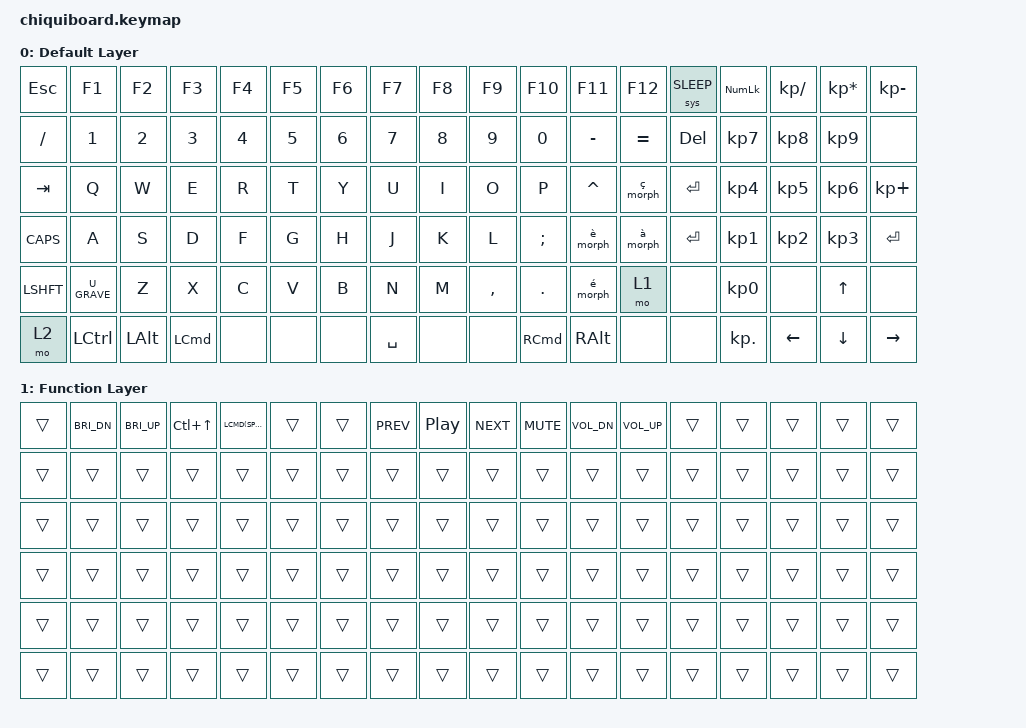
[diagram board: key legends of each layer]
/*
 * Copyright (c) 2020 The ZMK Contributors
 *
 * SPDX-License-Identifier: MIT
 */

#include <behaviors.dtsi>
#include <dt-bindings/zmk/keys.h>
#include <dt-bindings/zmk/bt.h>

/ {
        unicode_map {
                compatible = "zmk,unicode-map";
                C_CEDILLE: c_cedille { unicode = <0x00E7>; };
                C_CEDILLE_CAPS: c_cedille_caps { unicode = <0x00C7>; };
                E_AIGU: e_aigu { unicode = <0x00E9>; };
                E_AIGU_CAPS: e_aigu_caps { unicode = <0x00C9>; };
                E_GRAVE: e_grave { unicode = <0x00E8>; };
                E_GRAVE_CAPS: e_grave_caps { unicode = <0x00C8>; };
                A_GRAVE: a_grave { unicode = <0x00E90>; };
                A_GRAVE_CAPS: a_grave_caps { unicode = <0x00C0>; };
                U_GRAVE: u_grave { unicode = <0x00F9>; };
                U_GRAVE_CAPS: u_grave_caps { unicode = <0x00D9>; };
                TREMA: trema { unicode = <0x00A8>; };
        };

        behaviors {
                ç_morph_a: ç_morph_a {
                        compatible = "zmk,behavior-mod-morph";
                        #binding-cells = <0>;
                        mods = <(MOD_LSFT|MOD_RSFT)>;
                        bindings = <&kp C_CEDILLE>, <&kp C_CEDILLE_CAPS>;
                };

                ç_morph: ç_morph {
                        compatible = "zmk,behavior-mod-morph";
                        #binding-cells = <0>;
                        mods = <(MOD_LALT|MOD_RALT)>;
                        bindings = <&ç_morph_a>, <&kp TILDE>
                };
                
                é_morph_a: é_morph_a {
                        compatible = "zmk,behavior-mod-morph";
                        #binding-cells = <0>;
                        mods = <(MOD_LSFT|MOD_RSFT)>;
                        bindings = <&kp E_AIGU>, <&kp E_AIGU_CAPS>;
                };

                é_morph: é_morph {
                        compatible = "zmk,behavior-mod-morph";
                        #binding-cells = <0>;
                        mods = <(MOD_LSFT|MOD_RSFT)>;
                        bindings = <&é_morph_a>, <&kp FSLH>;
                };

                è_morph_a: è_morph_a {
                        compatible = "zmk,behavior-mod-morph";
                        #binding-cells = <0>;
                        mods = <(MOD_LSFT|MOD_RSFT)>;
                        bindings = <&kp E_GRAVE>, <&kp E_GRAVE_CAPS>;
                };

                è_morph: è_morph {
                        compatible = "zmk,behavior-mod-morph";
                        #binding-cells = <0>;
                        mods = <(MOD_LSFT|MOD_RSFT)>;
                        bindings = <&è_morph_a>, <&kp BSLH>;
                };

                à_morph_a: à_morph_a {
                        compatible = "zmk,behavior-mod-morph";
                        #binding-cells = <0>;
                        mods = <(MOD_LSFT|MOD_RSFT)>;
                        bindings = <&kp A_GRAVE>, <&kp A_GRAVE_CAPS>;
                };

                à_morph: à_morph {
                        compatible = "zmk,behavior-mod-morph";
                        #binding-cells = <0>;
                        mods = <(MOD_LSFT|MOD_RSFT)>;
                        bindings = <&à_morph_a>, <&kp GRAVE>;
                };

                ù_morph_a: ù_morph_a {
                        compatible = "zmk,behavior-mod-morph";
                        #binding-cells = <0>;
                        mods = <(MOD_LSFT|MOD_RSFT)>;
                        bindings = <&kp U_GRAVE>, <&kp U_GRAVE_CAPS>;
                };

                ù_morph: ù_morph {
                        compatible = "zmk,behavior-mod-morph";
                        #binding-cells = <0>;
                        mods = <(MOD_LSFT|MOD_RSFT)>;
                        bindings = <&ù_morph_a>, <&kp BSLH>;
                };
        };

        keymap {
                compatible = "zmk,keymap";

                default_layer {
                        display-name = "Default Layer";
// -----------------------------------------------------------------------------------------
// | ESC |  F1 |  F2 |  F3 |  F4 |  F5 |  F6 |  F7 |  F8 |  F9 |  F10|  F11|  F12|  PWR|  |NUMLC|  /  |  *  |  -  |
// | FSLH|  1  |  2  |  3  |  4  |  5  |  6  |  7  |  8  |  9  |  0  |MINUS|EQUAL|  DEL|  |  7  |  8  |  9  | NONE|
// | TAB |  q  |  w  |  e  |  r  |  t  |  y  |  u  |  i  |  o  |  p  |CARET|  ç  |  RET|  |  4  |  5  |  6  |  +  |
// | CAPS|  a  |  s  |  d  |  f  |  g  |  h  |  j  |  k  |  l  |  ;  |  è  |  à  |  RET|  |  1  |  2  |  3  |  RET|
// |LSHFT|  ù  |  z  |  x  |  c  |  v  |  b  |  n  |  m  |  ,  |  .  |  é  |RSHFT| NONE|  |  0  | NONE|  UP | NONE|
// | fn  |LCTRL| LALT| LCMD| NONE| NONE| NONE|SPACE| NONE| NONE| RCMD| RALT| NONE| NONE|  |  .  | LEFT| DOWN|RIGHT|
                        bindings = <
   &kp ESC   &kp F1      &kp F2    &kp F3    &kp F4    &kp F5    &kp F6    &kp F7    &kp F8    &kp F9    &kp F10   &kp F11   &kp F12   &sys SLEEP       &kp KP_NLCK &kp KP_DIVIDE &kp KP_MULTIPLY &kp KP_MINUS
   &kp FSLH  &kp N1      &kp N2    &kp N3    &kp N4    &kp N5    &kp N6    &kp N7    &kp N8    &kp N9    &kp N0    &kp MINUS &kp EQUAL &kp DEL          &kp KP_N7   &kp KP_N8     &kp KP_N9       &none
   &kp TAB   &kp Q       &kp W     &kp E     &kp R     &kp T     &kp Y     &kp U     &kp I     &kp O     &kp P     &kp CARET &ç_morph  &kp RET          &kp KP_N4   &kp KP_N5     &kp KP_N6       &kp KP_PLUS
   &CAPS     &kp A       &kp S     &kp D     &kp F     &kp G     &kp H     &kp J     &kp K     &kp L     &kp SEMI  &è_morph  &à_morph  &kp RET          &kp KP_N1   &kp KP_N2     &kp KP_N3       &kp RET
   &LSHFT    &kp U_GRAVE &kp Z     &kp X     &kp C     &kp V     &kp B     &kp N     &kp M     &kp COMMA &kp DOT   &é_morph  &mo 1     &none            &kp KP_N0   &none         &kp UP          &none
   &mo 2     &kp LCTRL   &kp LALT  &kp LCMD  &none     &none     &none     &kp SPACE &none     &none     &kp RCMD  &kp RALT  &none     &none            &kp KP_DOT  &kp LEFT      &kp DOWN        &kp RIGHT
                        >;
                };

                fn_layer {
                        display-name = "Function Layer";
// -----------------------------------------------------------------------------------------
// | ESC |  🔅 |  🔆 |MSNCTR|  🔍 |  🎙️ |  🌙  |  ↞  |  ⏸️ |  ↠  |  🔇 |  🔉  |  🔊 |  PWR|  |NUMLC|  /  |  *  |  -  |
// | FSLH|  1  |  2  |  3  |  4  |  5  |  6  |  7  |  8  |  9  |  0  |MINUS|EQUAL|  DEL|  |  7  |  8  |  9  | NONE|
// | TAB |  q  |  w  |  e  |  r  |  t  |  y  |  u  |  i  |  o  |  p  |CARET|  ç  |  RET|  |  4  |  5  |  6  |  +  |
// | CAPS|  a  |  s  |  d  |  f  |  g  |  h  |  j  |  k  |  l  |  ;  |  è  |  à  |  RET|  |  1  |  2  |  3  |  RET|
// |LSHFT|  ù  |  z  |  x  |  c  |  v  |  b  |  n  |  m  |  ,  |  .  |  é  |RSHFT| NONE|  |  0  | NONE|  UP | NONE|
// | fn  |LCTRL| LALT| LCMD| NONE| NONE| NONE|SPACE| NONE| NONE| RCMD| RALT| NONE| NONE|  |  .  | LEFT| DOWN|RIGHT|
                        bindings = <
   &trans &kp C_BRI_DN &kp C_BRI_UP &kp LC(UP) &kp LCMD(SPACE) &trans &trans &kp C_PREV &kp C_PP  &kp C_NEXT &kp C_MUTE &kp C_VOL_DN &kp C_VOL_UP &trans &trans &trans &trans &trans
   &trans &trans       &trans       &trans     &trans          &trans &trans &trans     &trans    &trans     &trans     &trans       &trans       &trans &trans &trans &trans &trans
   &trans &trans       &trans       &trans     &trans          &trans &trans &trans     &trans    &trans     &trans     &trans       &trans       &trans &trans &trans &trans &trans
   &trans &trans       &trans       &trans     &trans          &trans &trans &trans     &trans    &trans     &trans     &trans       &trans       &trans &trans &trans &trans &trans
   &trans &trans       &trans       &trans     &trans          &trans &trans &trans     &trans    &trans     &trans     &trans       &trans       &trans &trans &trans &trans &trans
   &trans &trans       &trans       &trans     &trans          &trans &trans &trans     &trans    &trans     &trans     &trans       &trans       &trans &trans &trans &trans &trans
                        >;
                };
        };
};


